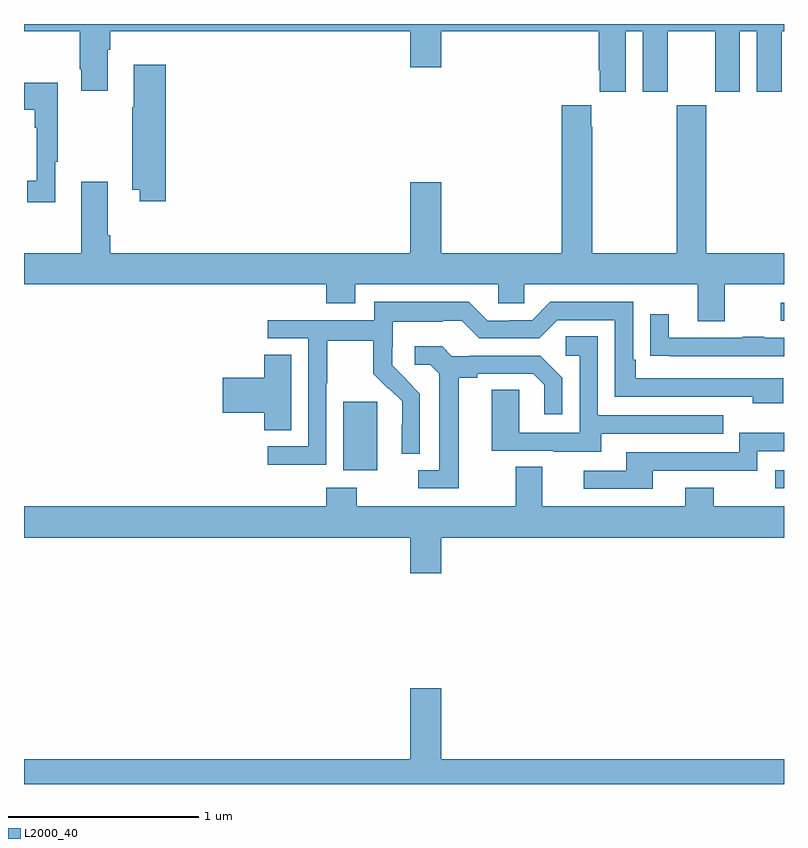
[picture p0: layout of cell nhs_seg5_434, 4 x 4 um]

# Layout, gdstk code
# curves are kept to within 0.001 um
import gdstk
lib = gdstk.Library(unit=1e-6, precision=1e-09)
def R(c, l, rs):  # rectangles x0, y0, x1, y1
    for r in rs: c.add(gdstk.rectangle(r[:2], r[2:], *l))
def P(c, l, *ps):  # polygons
    for p in ps: c.add(gdstk.Polygon(p, *l))
L2000_40 = (2000, 40)

nhs_seg5_434 = lib.new_cell('nhs_seg5_434')
R(nhs_seg5_434, L2000_40, [(142.953,854.355,143,854.451), (140.681,854.45,140.86,854.811), (142.983,855.237,143,855.333)])
P(nhs_seg5_434, L2000_40, [(142.168,856.76),(142.256,856.76),(142.256,856.443),(142.387,856.443),(142.387,856.76),(142.637,856.76),(142.637,856.443),(142.768,856.443),(142.768,856.76),(142.856,856.76),(142.856,856.443),(142.987,856.443),(142.987,856.76),(143,856.76),(143,856.799),(139,856.799),(139,856.76),(139.294,856.76),(139.294,856.561),(139.301,856.561),(139.301,856.449),(139.441,856.449),(139.441,856.664),(139.454,856.664),(139.454,856.76),(141.032,856.76),(141.032,856.572),(141.196,856.572),(141.196,856.76),(142.025,856.76),(142.025,856.555),(142.031,856.555),(142.031,856.443),(142.168,856.443)],
  [(139.745,856.585),(139.577,856.585),(139.577,856.361),(139.57,856.361),(139.57,855.926),(139.61,855.926),(139.61,855.867),(139.745,855.867)],
  [(139.165,856.073),(139.177,856.073),(139.177,856.489),(139,856.489),(139,856.349),(139.056,856.349),(139.056,856.253),(139.068,856.253),(139.068,855.974),(139.017,855.974),(139.017,855.861),(139.165,855.861)],
  [(142.547,855.234),(142.687,855.234),(142.687,855.428),(143,855.428),(143,855.592),(142.59,855.592),(142.59,856.372),(142.435,856.372),(142.435,855.592),(141.99,855.592),(141.99,856.259),(141.985,856.259),(141.985,856.372),(141.83,856.372),(141.83,855.592),(141.196,855.592),(141.196,855.967),(141.032,855.967),(141.032,855.592),(139.454,855.592),(139.454,855.688),(139.441,855.688),(139.441,855.97),(139.301,855.97),(139.301,855.592),(139,855.592),(139,855.428),(140.591,855.428),(140.591,855.329),(140.743,855.329),(140.743,855.428),(141.495,855.428),(141.495,855.33),(141.633,855.33),(141.633,855.428),(142.547,855.428)],
  [(140.592,854.908),(140.595,854.908),(140.595,855.132),(140.839,855.132),(140.839,854.957),(140.916,854.88),(140.919,854.883),(140.99,854.813),(140.99,854.69),(140.988,854.69),(140.988,854.536),(141.084,854.536),(141.084,854.854),(140.938,855.002),(140.938,855.099),(140.94,855.099),(140.94,855.233),(141.203,855.233),(141.203,855.237),(141.303,855.237),(141.396,855.144),(141.711,855.144),(141.807,855.24),(142.11,855.24),(142.11,854.838),(142.835,854.838),(142.835,854.804),(142.996,854.804),(142.996,854.934),(142.219,854.934),(142.219,855.031),(142.206,855.031),(142.206,855.336),(141.771,855.336),(141.675,855.24),(141.557,855.24),(141.557,855.237),(141.441,855.237),(141.341,855.337),(140.844,855.337),(140.844,855.24),(140.283,855.24),(140.283,855.144),(140.496,855.144),(140.496,854.577),(140.283,854.577),(140.283,854.479),(140.592,854.479)],
  [(143,855.147),(142.895,855.147),(142.895,855.152),(142.783,855.152),(142.783,855.147),(142.393,855.147),(142.393,855.271),(142.297,855.271),(142.297,855.052),(142.399,855.052),(142.399,855.051),(143,855.051)],
  [(142.039,854.643),(142.679,854.643),(142.679,854.739),(142.02,854.739),(142.02,855.155),(141.852,855.155),(141.852,855.054),(141.924,855.054),(141.924,854.649),(141.606,854.649),(141.606,854.873),(141.461,854.873),(141.461,854.553),(141.785,854.553),(141.785,854.549),(142.039,854.549)],
  [(141.289,854.936),(141.385,854.936),(141.385,854.958),(141.68,854.958),(141.737,854.901),(141.737,854.745),(141.834,854.745),(141.834,854.938),(141.718,855.054),(141.346,855.054),(141.346,855.051),(141.252,855.051),(141.2,855.103),(141.057,855.103),(141.057,855.006),(141.138,855.006),(141.185,854.959),(141.185,854.451),(141.075,854.451),(141.075,854.355),(141.289,854.355)],
  [(140.407,855.059),(140.264,855.059),(140.264,854.936),(140.046,854.936),(140.046,854.753),(140.264,854.753),(140.264,854.662),(140.407,854.662)],
  [(142.309,854.448),(142.86,854.448),(142.86,854.55),(143,854.55),(143,854.647),(142.764,854.647),(142.764,854.544),(142.169,854.544),(142.169,854.448),(141.945,854.448),(141.945,854.352),(142.309,854.352)],
  [(141.196,854.096),(143,854.096),(143,854.26),(142.629,854.26),(142.629,854.359),(142.481,854.359),(142.481,854.26),(141.727,854.26),(141.727,854.468),(141.587,854.468),(141.587,854.26),(140.751,854.26),(140.751,854.359),(140.591,854.359),(140.591,854.26),(139,854.26),(139,854.096),(141.032,854.096),(141.032,853.908),(141.196,853.908)],
  [(143,852.928),(141.196,852.928),(141.196,853.303),(141.032,853.303),(141.032,852.928),(139,852.928),(139,852.799),(143,852.799)])

lib.write_gds('nhs_seg5_434.gds')
